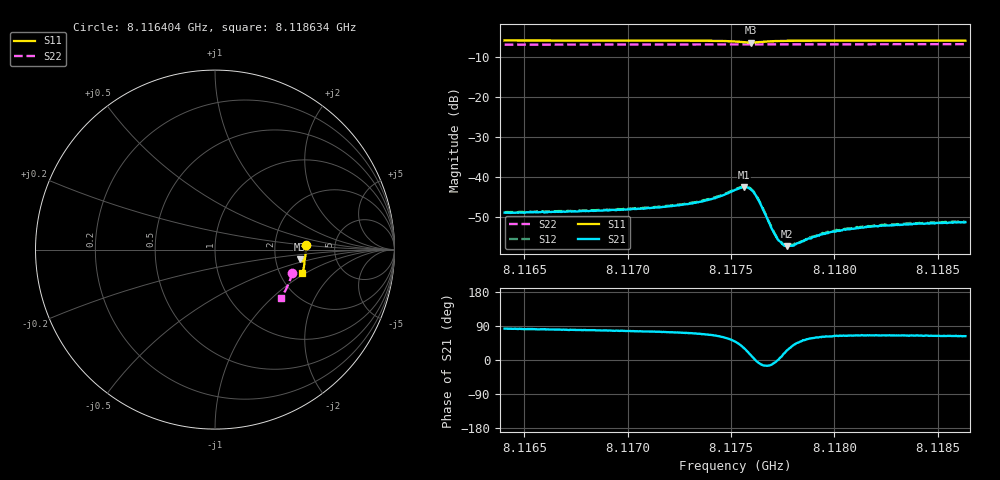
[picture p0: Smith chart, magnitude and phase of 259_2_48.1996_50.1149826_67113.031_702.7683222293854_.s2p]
#  HZ  S  RI  R  50.00
! Rohde & Schwarz Vector Network Analyzer
! Rohde-Schwarz,ZNB20-2Port,1311601062101988,3.16
! Created: UTC 3/20/2024, 11:47:41 AM
! freq[Hz]  re:S11  im:S11  re:S21  im:S21  re:S12  im:S12  re:S22  im:S22
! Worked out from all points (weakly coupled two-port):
!   401 points, 8.116404 GHz to 8.118634 GHz, reference 50 ohm
!   highest |S21| = -42.51 dB at 8.117563 GHz (marker M1); lowest = -57.3 dB at 8.11777 GHz (marker M2)
!   lowest |S11| = -6.4 dB at 8.117597 GHz (marker M3), VSWR 2.83, Z = 138 - j19.5 ohm
!   |S11| at or under -10 dB: nowhere
!   |S22| runs from -6.9 to -6.8 dB; largest |S21 - S12| = 0.00019
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8.1164041e9  0.506 0.0281  0.00045 0.00357  0.000498 0.00363  0.4304 -0.1292
8.1167775e9  0.5064 -0.000386  0.000726 0.00369  0.000767 0.00373  0.4232 -0.1541
8.117151e9  0.5046 -0.0298  0.00111 0.00403  0.00119 0.00411  0.4146 -0.1786
8.1172625e9  0.5031 -0.0394  0.0014 0.00428  0.00147 0.00432  0.4117 -0.186
8.1173628e9  0.5007 -0.0487  0.00184 0.00462  0.00192 0.00472  0.409 -0.1925
8.1174353e9  0.4975 -0.0563  0.00253 0.00502  0.00265 0.0051  0.4068 -0.1973
8.1175189e9  0.4879 -0.0646  0.00455 0.00519  0.00469 0.00526  0.4041 -0.2026
8.1175635e9  0.4782 -0.0631  0.00643 0.00384  0.00659 0.00386  0.4024 -0.2049
8.1175802e9  0.4751 -0.0594  0.00689 0.00273  0.00703 0.00267  0.4018 -0.2057
8.1175969e9  0.4744 -0.0544  0.00682 0.00138  0.00698 0.00131  0.4015 -0.2066
8.1176136e9  0.4762 -0.0497  0.00621 0.000172  0.00635 9.86e-05  0.401 -0.2075
8.1176304e9  0.48 -0.0467  0.00525 -0.000582  0.00536 -0.000648  0.4008 -0.2083
8.1176973e9  0.4934 -0.0502  0.0022 -0.000464  0.00226 -0.000509  0.3995 -0.2125
8.1177196e9  0.4955 -0.0531  0.00179 -9.64e-05  0.00177 -0.000115  0.3988 -0.214
8.1177474e9  0.4971 -0.0569  0.00146 0.000281  0.00143 0.000304  0.3982 -0.216
8.1177697e9  0.498 -0.0596  0.00124 0.000581  0.00127 0.000532  0.3973 -0.2174
8.1178032e9  0.4985 -0.0635  0.00107 0.000889  0.00113 0.000905  0.3965 -0.2196
8.1178923e9  0.4988 -0.0725  0.000955 0.00148  0.000974 0.00151  0.3937 -0.2254
8.117976e9  0.4979 -0.08  0.000944 0.00181  0.00101 0.00183  0.3909 -0.2304
8.118054e9  0.4972 -0.0866  0.000965 0.00198  0.000957 0.00204  0.3882 -0.2355
8.1182658e9  0.4941 -0.1033  0.00104 0.00226  0.00108 0.00235  0.3808 -0.2482
8.1186337e9  0.4874 -0.1306  0.00124 0.00243  0.00125 0.00247  0.3671 -0.2701
